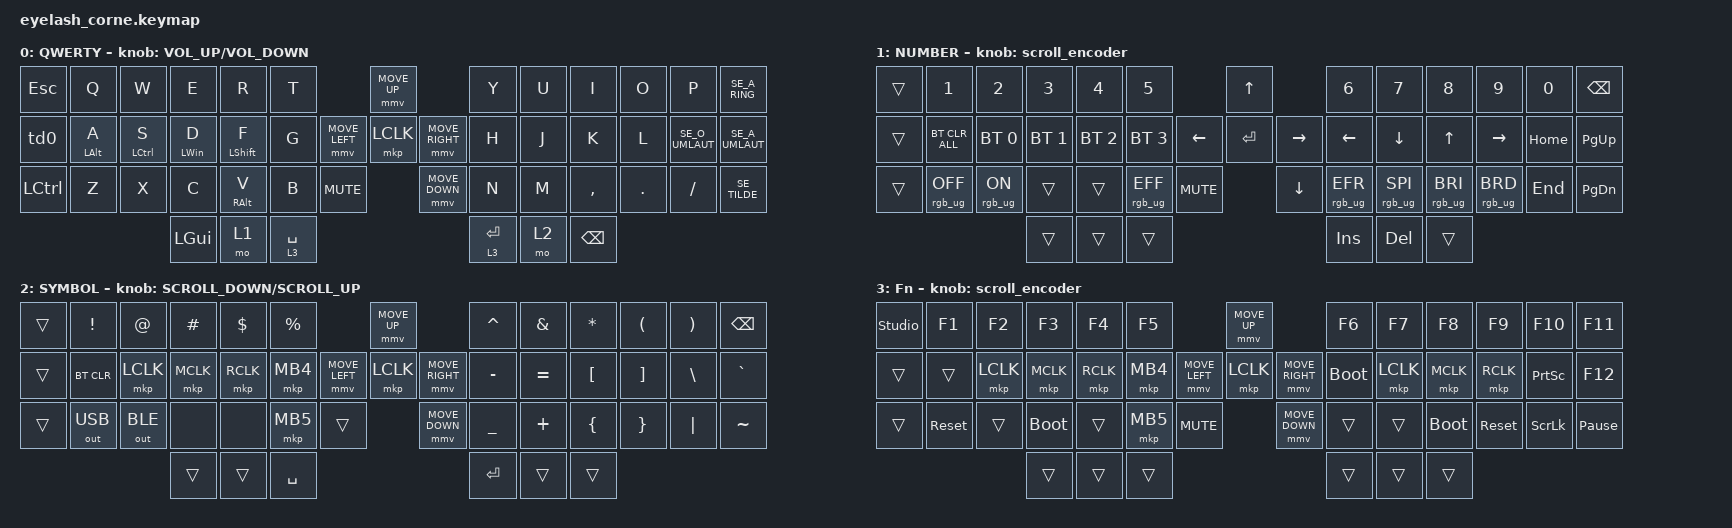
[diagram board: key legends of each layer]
#include <dt-bindings/zmk/mouse.h>
#include <input/processors.dtsi>
#include "keys_se_finland_sweden.h"
#include <behaviors.dtsi>
#include <dt-bindings/zmk/bt.h>
#include <dt-bindings/zmk/keys.h>
#include <dt-bindings/zmk/outputs.h>
#include <dt-bindings/zmk/pointing.h>
#include <dt-bindings/zmk/pointing.h>
#include <dt-bindings/zmk/pointing.h>
#include <dt-bindings/zmk/rgb.h>

/*

   &mmv_input_listener {
       input-processors = <&zip_xy_scaler 2 1>;
   };

   &msc_input_listener {
       input-processors = <&zip_xy_scaler 2 1>;
   };

 */

#define ZMK_MOUSE_DEFAULT_MOVE_VAL 1200  // 600
#define ZMK_MOUSE_DEFAULT_SCRL_VAL 20    // 10

/ {
    behaviors {
        td0: td0 {
            compatible = "zmk,behavior-tap-dance";
            display-name = "Shift/Caps Lock Tap Dance";
            #binding-cells = <0>;
            bindings = <&kp LEFT_SHIFT>, <&kp CAPS>;
        };
    };

    rgb_encoder: rgb_encoder {
        compatible = "zmk,behavior-sensor-rotate";
        #sensor-binding-cells = <0>;
        bindings = <&rgb_ug RGB_BRI>, <&rgb_ug RGB_BRD>;
    };

    scroll_encoder: scroll_encoder {
        compatible = "zmk,behavior-sensor-rotate";
        #sensor-binding-cells = <0>;
        bindings = <&msc SCRL_DOWN>, <&msc SCRL_UP>;

        tap-ms = <30>;
    };

    keymap {
        compatible = "zmk,keymap";

        default_layer {
            display-name = "QWERTY";
            bindings = <
&kp ESC    &kp Q           &kp W        &kp E           &kp R             &kp T                                      &mmv MOVE_UP                     &kp Y        &kp U  &kp I          &kp O    &kp P            &kp SE_A_RING
&td0       &mt LEFT_ALT A  &mt LCTRL S  &mt LEFT_WIN D  &mt LEFT_SHIFT F  &kp G                      &mmv MOVE_LEFT  &mkp LCLK       &mmv MOVE_RIGHT  &kp H        &kp J  &kp K          &kp L    &kp SE_O_UMLAUT  &kp SE_A_UMLAUT
&kp LCTRL  &kp Z           &kp X        &kp C           &mt RIGHT_ALT V   &kp B        &kp K_MUTE                    &mmv MOVE_DOWN                   &kp N        &kp M  &kp COMMA      &kp DOT  &kp FSLH         &kp SE_TILDE
                                        &kp LGUI        &mo 1             &lt 3 SPACE                                                                 &lt 3 ENTER  &mo 2  &kp BACKSPACE
            >;

            sensor-bindings = <&inc_dec_kp C_VOLUME_UP C_VOLUME_DOWN>;
        };

        lower_layer {
            display-name = "NUMBER";
            bindings = <
&trans  &kp N1           &kp N2          &kp N3        &kp N4        &kp N5                                         &kp UP_ARROW                     &kp N6           &kp N7           &kp N8           &kp N9           &kp N0    &kp BSPC
&trans  &bt BT_CLR_ALL   &bt BT_SEL 0    &bt BT_SEL 1  &bt BT_SEL 2  &bt BT_SEL 3                   &kp LEFT_ARROW  &kp ENTER       &kp RIGHT_ARROW  &kp LEFT         &kp DOWN         &kp UP           &kp RIGHT        &kp HOME  &kp PG_UP
&trans  &rgb_ug RGB_OFF  &rgb_ug RGB_ON  &trans        &trans        &rgb_ug RGB_EFF  &kp C_MUTE                    &kp DOWN_ARROW                   &rgb_ug RGB_EFR  &rgb_ug RGB_SPI  &rgb_ug RGB_BRI  &rgb_ug RGB_BRD  &kp END   &kp PG_DN
                                         &trans        &trans        &trans                                                                          &kp INS          &kp DEL          &trans
            >;

            sensor-bindings = <&scroll_encoder>;
        };

        raise_layer {
            display-name = "SYMBOL";
            bindings = <
&trans  &kp EXCL      &kp AT        &kp HASH   &kp DLLR   &kp PRCNT                            &mmv MOVE_UP                     &kp CARET  &kp AMPS   &kp ASTRK  &kp LPAR  &kp RPAR  &kp BSPC
&trans  &bt BT_CLR    &mkp LCLK     &mkp MCLK  &mkp RCLK  &mkp MB4             &mmv MOVE_LEFT  &mkp LCLK       &mmv MOVE_RIGHT  &kp MINUS  &kp EQUAL  &kp LBKT   &kp RBKT  &kp BSLH  &kp GRAVE
&trans  &out OUT_USB  &out OUT_BLE  &none      &none      &mkp MB5   &trans                    &mmv MOVE_DOWN                   &kp UNDER  &kp PLUS   &kp LBRC   &kp RBRC  &kp PIPE  &kp TILDE
                                    &trans     &trans     &kp SPACE                                                             &kp RET    &trans     &trans
            >;

            sensor-bindings = <&inc_dec_kp K_SCROLL_DOWN K_SCROLL_UP>;
        };

        layer_3 {
            display-name = "Fn";
            bindings = <
&studio_unlock  &kp F1      &kp F2     &kp F3       &kp F4     &kp F5                                  &mmv MOVE_UP                     &kp F6       &kp F7     &kp F8       &kp F9      &kp F10          &kp F11
&trans          &trans      &mkp LCLK  &mkp MCLK    &mkp RCLK  &mkp MB4                &mmv MOVE_LEFT  &mkp LCLK       &mmv MOVE_RIGHT  &bootloader  &mkp LCLK  &mkp MCLK    &mkp RCLK   &kp PRINTSCREEN  &kp F12
&trans          &sys_reset  &trans     &bootloader  &trans     &mkp MB5  &kp C_MUTE                    &mmv MOVE_DOWN                   &trans       &trans     &bootloader  &sys_reset  &kp SCROLLLOCK   &kp PAUSE_BREAK
                                       &trans       &trans     &trans                                                                   &trans       &trans     &trans
            >;

            sensor-bindings = <&scroll_encoder>;
        };
    };
};
